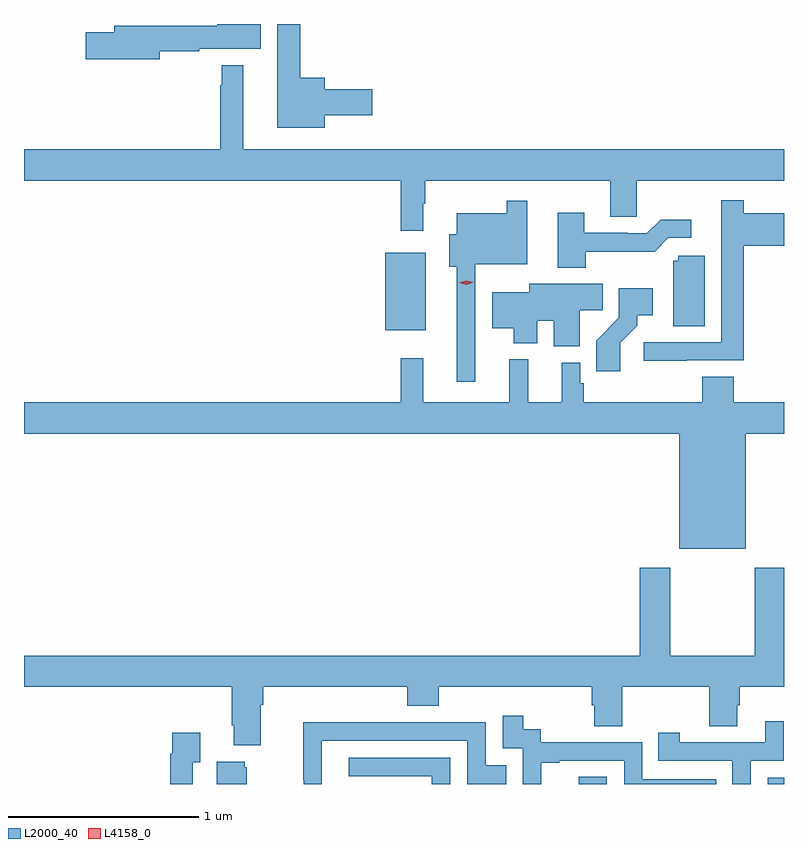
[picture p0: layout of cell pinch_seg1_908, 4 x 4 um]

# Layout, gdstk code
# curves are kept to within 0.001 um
import gdstk
lib = gdstk.Library(unit=1e-6, precision=1e-09)
def R(c, l, rs):  # rectangles x0, y0, x1, y1
    for r in rs: c.add(gdstk.rectangle(r[:2], r[2:], *l))
def P(c, l, *ps):  # polygons
    for p in ps: c.add(gdstk.Polygon(p, *l))
L2000_40 = (2000, 40)
L4158_0 = (4158, 0)

pinch_seg1_908 = lib.new_cell('pinch_seg1_908')
R(pinch_seg1_908, L2000_40, [(211.443,513.924,211.59,513.961), (212.436,513.924,212.522,513.957), (210.422,516.311,210.637,516.721)])
P(pinch_seg1_908, L2000_40, [(210.106,517.445),(210.355,517.445),(210.355,517.58),(210.106,517.58),(210.106,517.642),(209.977,517.642),(209.977,517.924),(209.855,517.924),(209.855,517.379),(210.106,517.379)],
  [(209.236,517.78),(209.444,517.78),(209.444,517.793),(209.767,517.793),(209.767,517.924),(209.54,517.924),(209.54,517.916),(208.997,517.916),(208.997,517.88),(208.848,517.88),(208.848,517.738),(209.236,517.738)],
  [(210.505,516.837),(210.622,516.837),(210.622,516.977),(210.634,516.977),(210.634,517.1),(211.607,517.1),(211.607,516.91),(211.746,516.91),(211.746,517.1),(212.522,517.1),(212.522,517.264),(209.677,517.264),(209.677,517.708),(209.562,517.708),(209.562,517.601),(209.556,517.601),(209.556,517.264),(208.522,517.264),(208.522,517.1),(210.505,517.1)],
  [(212.009,516.153),(212.309,516.153),(212.309,516.758),(212.522,516.758),(212.522,516.928),(212.309,516.928),(212.309,516.996),(212.192,516.996),(212.192,516.774),(212.193,516.774),(212.193,516.249),(211.785,516.249),(211.785,516.151),(212.009,516.151)],
  [(210.897,516.659),(211.17,516.659),(211.17,516.994),(211.062,516.994),(211.062,516.928),(210.8,516.928),(210.8,516.817),(210.761,516.817),(210.761,516.647),(210.8,516.647),(210.8,516.042),(210.897,516.042)],
  [(211.479,516.726),(211.841,516.725),(211.914,516.798),(212.035,516.798),(212.035,516.895),(211.873,516.895),(211.8,516.822),(211.7,516.822),(211.7,516.825),(211.471,516.825),(211.471,516.931),(211.331,516.931),(211.331,516.641),(211.479,516.641)],
  [(212.104,516.705),(211.965,516.705),(211.965,516.678),(211.94,516.678),(211.94,516.334),(212.104,516.334)],
  [(211.447,516.418),(211.568,516.418),(211.568,516.556),(211.181,516.556),(211.181,516.511),(210.986,516.511),(210.986,516.323),(211.1,516.323),(211.1,516.245),(211.222,516.245),(211.222,516.362),(211.31,516.362),(211.31,516.227),(211.447,516.227)],
  [(211.66,516.247),(211.75,516.337),(211.75,516.392),(211.831,516.392),(211.831,516.532),(211.653,516.532),(211.653,516.377),(211.534,516.258),(211.534,516.096),(211.66,516.096)],
  [(212.32,515.768),(212.522,515.768),(212.522,515.932),(212.258,515.932),(212.258,516.068),(212.093,516.068),(212.093,515.932),(211.469,515.932),(211.469,516.033),(211.449,516.033),(211.449,516.142),(211.352,516.142),(211.352,515.932),(211.175,515.932),(211.175,516.16),(211.076,516.16),(211.076,515.932),(210.623,515.932),(210.623,516.166),(210.505,516.166),(210.505,515.932),(208.522,515.932),(208.522,515.768),(211.97,515.768),(211.97,515.162),(212.32,515.162)],
  [(208.522,514.436),(209.615,514.436),(209.615,514.234),(209.627,514.234),(209.627,514.127),(209.767,514.127),(209.767,514.34),(209.78,514.34),(209.78,514.436),(210.539,514.436),(210.539,514.337),(210.704,514.337),(210.704,514.436),(211.511,514.436),(211.511,514.338),(211.523,514.338),(211.523,514.228),(211.671,514.228),(211.671,514.436),(212.128,514.436),(212.128,514.228),(212.275,514.228),(212.275,514.338),(212.288,514.338),(212.288,514.436),(212.522,514.436),(212.522,515.062),(212.368,515.062),(212.368,514.6),(211.923,514.6),(211.923,515.062),(211.763,515.062),(211.763,514.6),(208.522,514.6)],
  [(211.244,514.035),(211.339,514.035),(211.339,514.047),(211.68,514.047),(211.68,513.924),(212.165,513.924),(212.165,513.948),(211.776,513.948),(211.776,514.143),(211.242,514.143),(211.242,514.212),(211.15,514.212),(211.15,514.282),(211.041,514.282),(211.041,514.113),(211.146,514.113),(211.146,513.924),(211.244,513.924)],
  [(212.346,514.047),(212.52,514.047),(212.52,514.255),(212.423,514.255),(212.423,514.143),(211.972,514.143),(211.972,514.195),(211.861,514.195),(211.861,514.047),(212.25,514.047),(212.25,513.924),(212.346,513.924)],
  [(210.09,514.152),(210.855,514.152),(210.855,513.924),(211.061,513.924),(211.061,514.023),(210.951,514.023),(210.951,514.248),(210.455,514.248),(210.455,514.25),(209.992,514.25),(209.992,513.943),(209.994,513.943),(209.994,513.924),(210.09,513.924)],
  [(209.409,514.039),(209.449,514.039),(209.449,514.195),(209.301,514.195),(209.301,514.082),(209.293,514.082),(209.293,513.924),(209.409,513.924)],
  [(210.765,514.062),(210.231,514.062),(210.231,513.966),(210.669,513.966),(210.669,513.924),(210.765,513.924)],
  [(209.695,514.011),(209.684,514.011),(209.684,514.042),(209.537,514.042),(209.537,513.924),(209.695,513.924)])
P(pinch_seg1_908, L4158_0, [(210.85,516.552),(210.814,516.561),(210.814,516.561),(210.814,516.561),(210.85,516.572),(210.886,516.564),(210.886,516.564),(210.886,516.564)])

lib.write_gds('pinch_seg1_908.gds')
